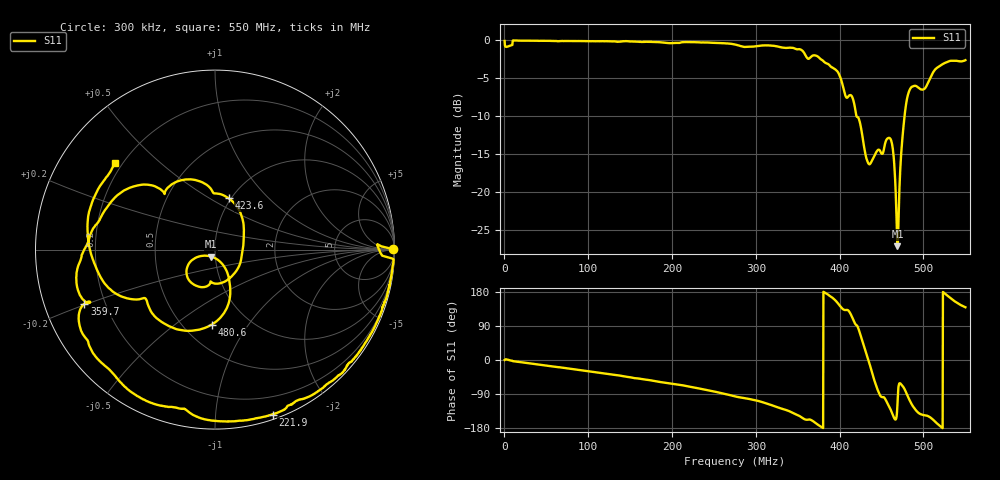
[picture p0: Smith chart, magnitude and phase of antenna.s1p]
! ATR250-TR10HAA
! with matching circuit(22nH and 2.7pF in shunt), measured from dc to 550MHz
!Date: Monday, February 22, 2010 08:29:26
!Correction: S11(Full 2 Port(1,2))
!S1P File: Measurement: S11:
# Hz S  dB  R 50
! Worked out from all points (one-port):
!   1601 points, 300 kHz to 550 MHz, reference 50 ohm
!   lowest |S11| = -27.1 dB at 468.9 MHz (marker M1), VSWR 1.09, Z = 47.8 - j3.73 ohm
!   |S11| at or under -10 dB: 420.1 MHz to 477.4 MHz (57.26 MHz wide, 12.8 % of centre)
!   S11 on the Smith chart (normalised r, x): 300 kHz: open; 221.9 MHz: 0.04, -1.41; 359.7 MHz: 0.12, -0.20; 423.6 MHz: 0.98, +0.61; 480.6 MHz: 0.68, -0.69; 550 MHz: 0.17, +0.36
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300000  -0.09 0.2
6.90125e7  -0.09 -20.1
1.37725e8  -0.18 -41.1
2.064375e8  -0.35 -64.6
2.218978e8  -0.24 -70.8
2.7515e8  -0.56 -95.9
3.132854e8  -0.68 -115.1
3.438625e8  -0.99 -139.2
3.596664e8  -2.07 -157.4
3.675683e8  -2.04 -160.5
3.868078e8  -3.18 171.4
4.002068e8  -4.71 143.3
4.12575e8  -7.20 123.6
4.23569e8  -10.58 75.0
4.349066e8  -16.30 -4.8
4.452134e8  -14.48 -78.1
4.606738e8  -12.99 -130.1
4.637658e8  -14.62 -146.9
4.689192e8  -27.11 -118.0
4.709806e8  -20.60 -62.6
4.751034e8  -12.58 -68.8
4.806004e8  -7.58 -92.5
4.812875e8  -7.25 -96.0
4.905637e8  -6.00 -131.6
5.098032e8  -4.57 -154.3
5.197665e8  -3.36 -174.3
5.311041e8  -2.73 165.3
5.5e8  -2.62 139.2
